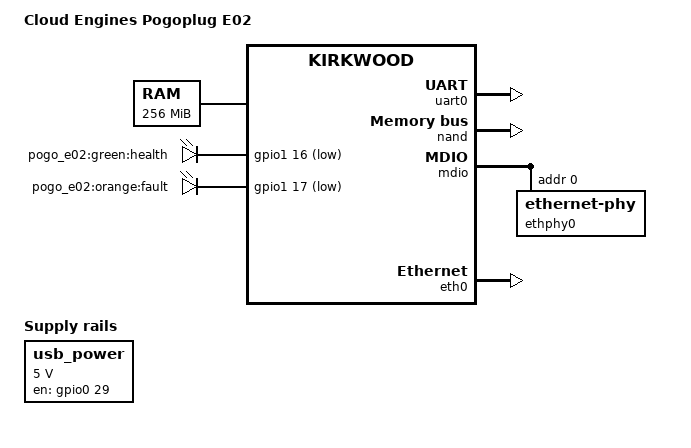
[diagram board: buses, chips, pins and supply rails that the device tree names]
/*
 * kirkwood-pogo_e02.dts - Device tree file for Pogoplug E02
 *
 * Copyright (C) 2015 Christoph Junghans <ottxor@gentoo.org>
 *
 * based on information of dts files from
 *  Arch Linux ARM by Oleg Rakhmanov <moonman.ca@gmail.com>
 *  OpenWrt by Felix Kaechele <heffer@fedoraproject.org>
 *
 * This file is licensed under the terms of the GNU General Public
 * License version 2.  This program is licensed "as is" without any
 * warranty of any kind, whether express or implied.
 */

/dts-v1/;

#include "kirkwood.dtsi"
#include "kirkwood-6281.dtsi"

/ {
	model = "Cloud Engines Pogoplug E02";
	compatible = "cloudengines,pogoe02", "marvell,kirkwood-88f6281",
		     "marvell,kirkwood";

	memory {
		device_type = "memory";
		reg = <0x00000000 0x10000000>;
	};

	chosen {
		bootargs = "console=ttyS0,115200n8";
		stdout-path = &uart0;
	};

	gpio-leds {
		compatible = "gpio-leds";

		health {
			label = "pogo_e02:green:health";
			gpios = <&gpio1 16 GPIO_ACTIVE_LOW>;
			default-state = "keep";
		};
		fault {
			label = "pogo_e02:orange:fault";
			gpios = <&gpio1 17 GPIO_ACTIVE_LOW>;
		};
	};

	regulators {
		compatible = "simple-bus";
		#address-cells = <1>;
		#size-cells = <0>;
		pinctrl-0 = <&pmx_usb_power_enable>;
		pinctrl-names = "default";

		usb_power: regulator@1 {
			compatible = "regulator-fixed";
			reg = <1>;
			regulator-name = "USB Power";
			regulator-min-microvolt = <5000000>;
			regulator-max-microvolt = <5000000>;
			enable-active-high;
			regulator-always-on;
			regulator-boot-on;
			gpio = <&gpio0 29 GPIO_ACTIVE_HIGH>;
		};
	};
};

&pinctrl {
	pinctrl-0 = < &pmx_usb_power_enable &pmx_led_orange
		      &pmx_led_green >;
	pinctrl-names = "default";

	pmx_usb_power_enable: pmx-usb-power-enable {
		marvell,pins = "mpp29";
		marvell,function = "gpio";
	};

	pmx_led_green: pmx-led-green {
		marvell,pins = "mpp48";
		marvell,function = "gpio";
	};

	pmx_led_orange: pmx-led-orange {
		marvell,pins = "mpp49";
		marvell,function = "gpio";
	};
};

&uart0 {
	status = "okay";
};

&nand {
	chip-delay = <40>;
	status = "okay";

	partition@0 {
		label = "u-boot";
		reg = <0x0000000 0x100000>;
		read-only;
	};

	partition@100000 {
		label = "uImage";
		reg = <0x0100000 0x400000>;
	};

	partition@500000 {
		label = "pogoplug";
		reg = <0x0500000 0x2000000>;
	};

	partition@2500000 {
		label = "root";
		reg = <0x02500000 0x5b00000>;
	};
};

&mdio {
	status = "okay";

	ethphy0: ethernet-phy@0 {
		reg = <0>;
	};
};

&eth0 {
	status = "okay";
	ethernet0-port@0 {
		phy-handle = <&ethphy0>;
	};
};
